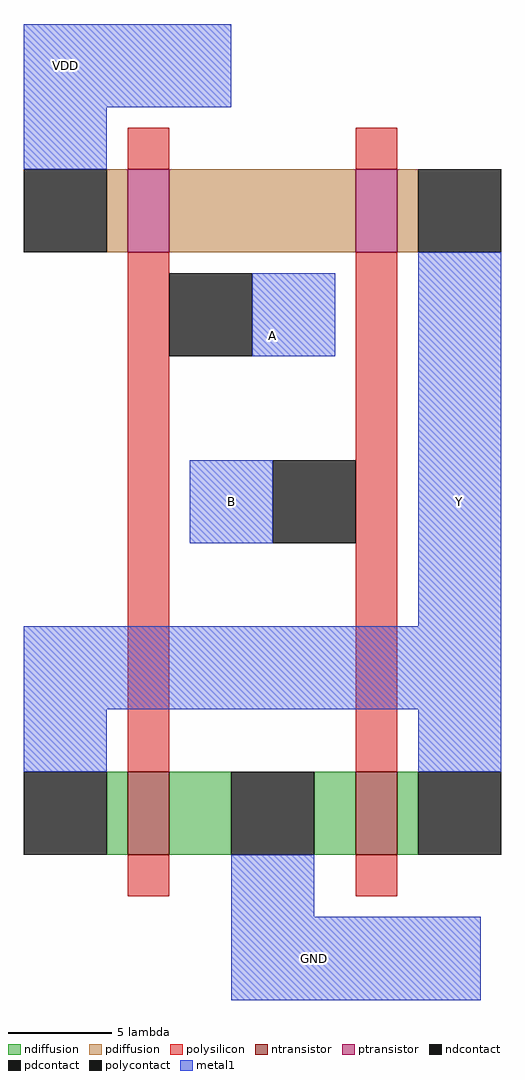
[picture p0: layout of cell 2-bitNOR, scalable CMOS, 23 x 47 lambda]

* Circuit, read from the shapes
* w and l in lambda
.subckt 2-bitNOR A B GND VDD Y
M1 GND A Y VSUBS nfet w=4 l=2
M2 Y B GND VSUBS nfet w=4 l=2
M3 n1 A VDD NWELL pfet w=4 l=2
M4 Y B n1 NWELL pfet w=4 l=2
.ends

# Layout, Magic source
magic
tech scmos
<< polysilicon >>
rect 0 4 2 6
rect 11 4 13 6
rect 0 -25 2 0
rect 11 -25 13 0
rect 0 -31 2 -29
rect 11 -31 13 -29
<< ndiffusion >>
rect -1 -29 0 -25
rect 2 -29 5 -25
rect 9 -29 11 -25
rect 13 -29 14 -25
<< pdiffusion >>
rect -1 0 0 4
rect 2 0 11 4
rect 13 0 14 4
<< metal1 >>
rect -5 7 5 11
rect -5 4 -1 7
rect 6 -5 10 -1
rect 3 -14 7 -10
rect 14 -18 18 0
rect -5 -22 18 -18
rect -5 -25 -1 -22
rect 14 -25 18 -22
rect 5 -32 9 -29
rect 5 -36 17 -32
<< ntransistor >>
rect 0 -29 2 -25
rect 11 -29 13 -25
<< ptransistor >>
rect 0 0 2 4
rect 11 0 13 4
<< polycontact >>
rect 2 -5 6 -1
rect 7 -14 11 -10
<< ndcontact >>
rect -5 -29 -1 -25
rect 5 -29 9 -25
rect 14 -29 18 -25
<< pdcontact >>
rect -5 0 -1 4
rect 14 0 18 4
<< labels >>
rlabel metal1 7 -4 7 -4 1 A
rlabel metal1 5 -12 5 -12 1 B
rlabel metal1 16 -12 16 -12 7 Y
rlabel metal1 9 -34 9 -34 1 GND
rlabel metal1 -3 9 -3 9 4 VDD
<< end >>
